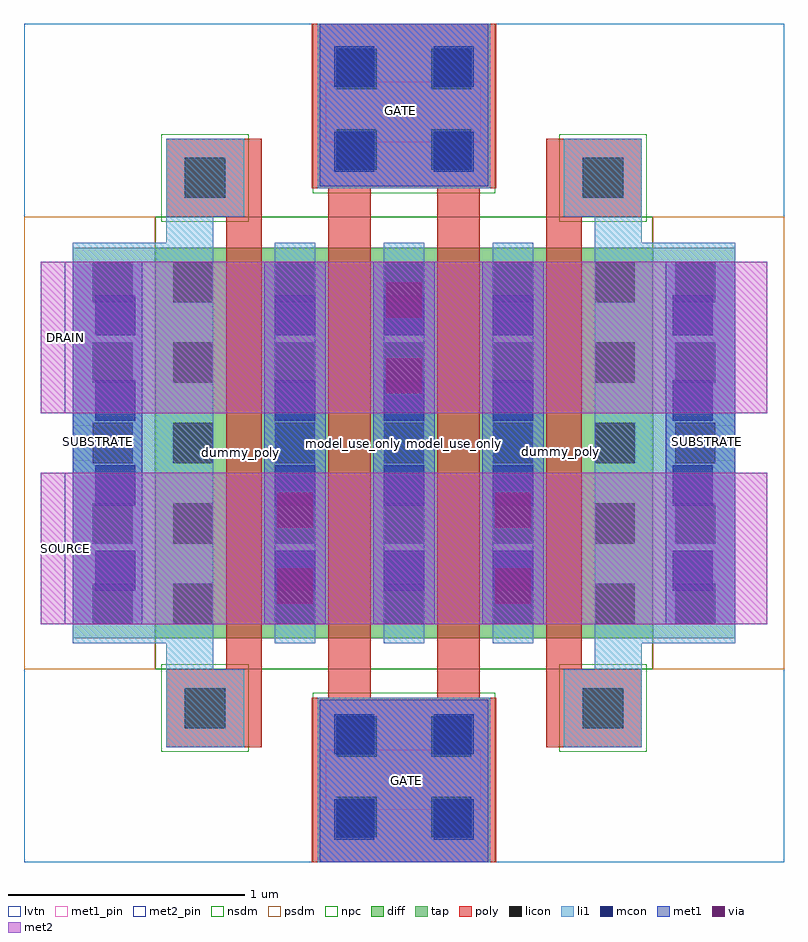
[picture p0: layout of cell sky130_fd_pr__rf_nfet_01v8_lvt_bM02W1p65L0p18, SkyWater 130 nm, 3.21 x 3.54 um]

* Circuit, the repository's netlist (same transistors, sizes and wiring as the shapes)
* Copyright 2020 The SkyWater PDK Authors
*
* Licensed under the Apache License, Version 2.0 (the "License");
* you may not use this file except in compliance with the License.
* You may obtain a copy of the License at
*
*     https://www.apache.org/licenses/LICENSE-2.0
*
* Unless required by applicable law or agreed to in writing, software
* distributed under the License is distributed on an "AS IS" BASIS,
* WITHOUT WARRANTIES OR CONDITIONS OF ANY KIND, either express or implied.
* See the License for the specific language governing permissions and
* limitations under the License.
*
* SPDX-License-Identifier: Apache-2.0


.subckt sky130_fd_pr__rf_nfet_01v8_lvt_bM02W1p65L0p18 DRAIN GATE SOURCE SUBSTRATE
X0 SOURCE SUBSTRATE SUBSTRATE SUBSTRATE sky130_fd_pr__nfet_01v8_lvt w=1.65e+06u l=150000u
X1 DRAIN GATE SOURCE SUBSTRATE sky130_fd_pr__nfet_01v8_lvt w=1.65e+06u l=180000u
X2 SUBSTRATE SUBSTRATE SOURCE SUBSTRATE sky130_fd_pr__nfet_01v8_lvt w=1.65e+06u l=150000u
X3 SOURCE GATE DRAIN SUBSTRATE sky130_fd_pr__nfet_01v8_lvt w=1.65e+06u l=180000u
.ends

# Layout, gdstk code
import gdstk
lib = gdstk.Library(unit=1e-6, precision=1e-09)
def R(c, l, rs):  # rectangles x0, y0, x1, y1
    for r in rs: c.add(gdstk.rectangle(r[:2], r[2:], *l))
def A(c, l, x, y, w, h, nx, ny, dx, dy):  # array of equal rectangles
    R(c, l, [(x+i*dx, y+j*dy, x+i*dx+w, y+j*dy+h) for i in range(nx) for j in range(ny)])
diff = (65, 20)
tap = (65, 44)
poly = (66, 20)
licon = (66, 44)
li1 = (67, 20)
mcon = (67, 44)
met1_pin = (68, 16)
met1 = (68, 20)
via = (68, 44)
met2_pin = (69, 16)
met2 = (69, 20)
nsdm = (93, 44)
psdm = (94, 20)
npc = (95, 20)
lvtn = (125, 44)

sky130_fd_pr__rf_nfet_01 = lib.new_cell('sky130_fd_pr__rf_nfet_01v8_lvt_bM02W1p65L0p18')
R(sky130_fd_pr__rf_nfet_01, diff, [(0.555,0.945,2.655,2.595)])
R(sky130_fd_pr__rf_nfet_01, tap, [(0.205,0.945,0.555,2.595), (2.655,0.945,3.005,2.595)])
R(sky130_fd_pr__rf_nfet_01, poly, [(1.215,0,1.995,0.695), (0.6,0.485,0.93,0.815), (0.855,0.485,1.005,3.055), (2.205,0.485,2.355,3.055), (2.28,0.485,2.61,0.815), (1.285,0.695,1.465,2.845), (1.745,0.695,1.925,2.845), (0.6,2.725,0.93,3.055), (2.28,2.725,2.61,3.055), (1.215,2.845,1.995,3.54)])
A(sky130_fd_pr__rf_nfet_01, licon, 0.29, 1.005, 0.17, 0.17, 1, 5, 0, 0.34)
A(sky130_fd_pr__rf_nfet_01, licon, 0.63, 1.005, 0.17, 0.17, 1, 5, 0, 0.34)
A(sky130_fd_pr__rf_nfet_01, licon, 1.06, 1.005, 0.17, 0.17, 3, 5, 0.46, 0.34)
A(sky130_fd_pr__rf_nfet_01, licon, 2.41, 1.005, 0.17, 0.17, 1, 5, 0, 0.34)
A(sky130_fd_pr__rf_nfet_01, licon, 2.75, 1.005, 0.17, 0.17, 1, 5, 0, 0.34)
R(sky130_fd_pr__rf_nfet_01, licon, [(1.32,0.105,1.49,0.275), (1.72,0.105,1.89,0.275), (1.32,0.445,1.49,0.615), (1.72,0.445,1.89,0.615), (0.68,0.565,0.85,0.735), (2.36,0.565,2.53,0.735), (0.68,2.805,0.85,2.975), (2.36,2.805,2.53,2.975), (1.32,2.925,1.49,3.095), (1.72,2.925,1.89,3.095), (1.32,3.265,1.49,3.435), (1.72,3.265,1.89,3.435)])
A(sky130_fd_pr__rf_nfet_01, li1, 1.06, 0.925, 0.17, 1.69, 3, 1, 0.46, 0)
R(sky130_fd_pr__rf_nfet_01, li1, [(1.24,0,1.97,0.695), (0.6,0.485,0.93,0.815), (2.28,0.485,2.61,0.815), (0.6,0.815,0.8,0.925), (2.41,0.815,2.61,0.925), (0.205,0.925,0.8,2.615), (2.41,0.925,3.005,2.615), (0.6,2.615,0.8,2.725), (2.41,2.615,2.61,2.725), (0.6,2.725,0.93,3.055), (2.28,2.725,2.61,3.055), (1.24,2.845,1.97,3.54)])
A(sky130_fd_pr__rf_nfet_01, mcon, 0.3, 1.145, 0.17, 0.17, 1, 4, 0, 0.36)
A(sky130_fd_pr__rf_nfet_01, mcon, 1.06, 1.145, 0.17, 0.17, 3, 4, 0.46, 0.36)
A(sky130_fd_pr__rf_nfet_01, mcon, 2.74, 1.145, 0.17, 0.17, 1, 4, 0, 0.36)
R(sky130_fd_pr__rf_nfet_01, mcon, [(1.31,0.095,1.48,0.265), (1.73,0.095,1.9,0.265), (1.31,0.455,1.48,0.625), (1.73,0.455,1.9,0.625), (1.31,2.915,1.48,3.085), (1.73,2.915,1.9,3.085), (1.31,3.275,1.48,3.445), (1.73,3.275,1.9,3.445)])
R(sky130_fd_pr__rf_nfet_01, met1_pin, [(1.275,0.22,1.93,0.475), (0.205,1.695,0.435,1.845), (2.775,1.695,3.005,1.845), (1.275,3.04,1.93,3.295)])
A(sky130_fd_pr__rf_nfet_01, met1, 1.015, 1.005, 0.26, 1.53, 3, 1, 0.46, 0)
R(sky130_fd_pr__rf_nfet_01, met1, [(1.25,0,1.96,0.685), (0.205,1.005,0.5,2.535), (2.71,1.005,3.005,2.535), (1.25,2.855,1.96,3.54)])
R(sky130_fd_pr__rf_nfet_01, via, [(1.07,1.09,1.22,1.24), (1.99,1.09,2.14,1.24), (1.07,1.41,1.22,1.56), (1.99,1.41,2.14,1.56), (1.53,1.98,1.68,2.13), (1.53,2.3,1.68,2.45)])
R(sky130_fd_pr__rf_nfet_01, met2_pin, [(0.07,1.005,0.175,1.645), (0.07,1.895,0.175,2.535)])
R(sky130_fd_pr__rf_nfet_01, met2, [(0.07,1.005,3.14,1.645), (0.07,1.895,3.14,2.535)])
R(sky130_fd_pr__rf_nfet_01, nsdm, [(0.555,0.815,2.655,2.725)])
R(sky130_fd_pr__rf_nfet_01, psdm, [(0,0.815,0.555,2.725), (2.655,0.815,3.21,2.725)])
R(sky130_fd_pr__rf_nfet_01, npc, [(1.22,0,1.99,0.715), (0.58,0.465,0.95,0.835), (2.26,0.465,2.63,0.835), (0.58,2.705,0.95,3.075), (2.26,2.705,2.63,3.075), (1.22,2.825,1.99,3.54)])
R(sky130_fd_pr__rf_nfet_01, lvtn, [(0,0,3.21,3.54)])
sky130_fd_pr__rf_nfet_01.add(gdstk.Label('dummy_poly', (0.915,1.73), layer=83, texttype=44))
sky130_fd_pr__rf_nfet_01.add(gdstk.Label('dummy_poly', (2.265,1.735), layer=83, texttype=44))
sky130_fd_pr__rf_nfet_01.add(gdstk.Label('GATE', (1.59,3.175), layer=68, texttype=5))
sky130_fd_pr__rf_nfet_01.add(gdstk.Label('GATE', (1.615,0.345), layer=68, texttype=5))
sky130_fd_pr__rf_nfet_01.add(gdstk.Label('SUBSTRATE', (0.315,1.775), layer=68, texttype=16))
sky130_fd_pr__rf_nfet_01.add(gdstk.Label('SUBSTRATE', (2.885,1.775), layer=68, texttype=16))
sky130_fd_pr__rf_nfet_01.add(gdstk.Label('model_use_only', (1.82,1.77), layer=66, texttype=83))
sky130_fd_pr__rf_nfet_01.add(gdstk.Label('model_use_only', (1.39,1.77), layer=66, texttype=83))
sky130_fd_pr__rf_nfet_01.add(gdstk.Label('model_use_only', (0.905,1.77), layer=66, texttype=83))
sky130_fd_pr__rf_nfet_01.add(gdstk.Label('model_use_only', (2.265,1.77), layer=66, texttype=83))
sky130_fd_pr__rf_nfet_01.add(gdstk.Label('SOURCE', (0.175,1.325), layer=69, texttype=5))
sky130_fd_pr__rf_nfet_01.add(gdstk.Label('DRAIN', (0.175,2.215), layer=69, texttype=5))

lib.write_gds('sky130_fd_pr__rf_nfet_01v8_lvt_bM02W1p65L0p18.gds')
